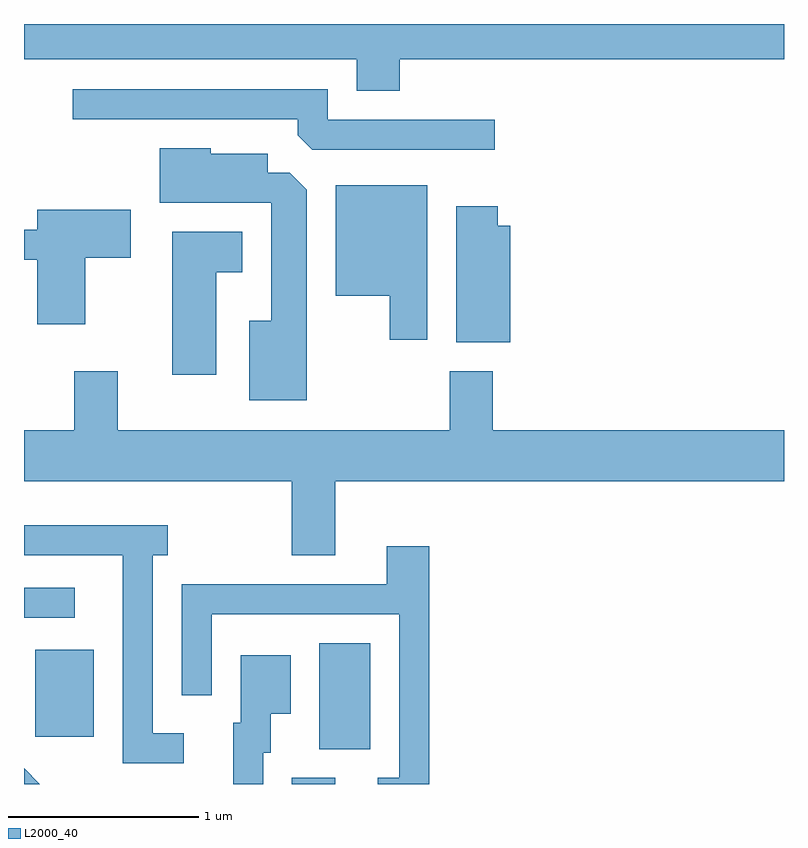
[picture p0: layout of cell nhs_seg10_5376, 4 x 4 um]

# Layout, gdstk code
import gdstk
lib = gdstk.Library(unit=1e-6, precision=1e-09)
def R(c, l, rs):  # rectangles x0, y0, x1, y1
    for r in rs: c.add(gdstk.rectangle(r[:2], r[2:], *l))
def P(c, l, *ps):  # polygons
    for p in ps: c.add(gdstk.Polygon(p, *l))
L2000_40 = (2000, 40)

nhs_seg10_5376 = lib.new_cell('nhs_seg10_5376')
R(nhs_seg10_5376, L2000_40, [(345.021,2134.522,345.249,2134.554), (345.166,2134.706,345.434,2135.264), (343.671,2134.771,343.979,2135.229), (343.611,2135.396,343.878,2135.554)])
P(nhs_seg10_5376, L2000_40, [(345.589,2138.336),(347.611,2138.336),(347.611,2138.522),(343.611,2138.522),(343.611,2138.336),(345.361,2138.336),(345.361,2138.171),(345.589,2138.171)],
  [(346.088,2138.019),(345.209,2138.019),(345.209,2138.179),(343.868,2138.179),(343.868,2138.021),(345.051,2138.021),(345.051,2137.937),(345.127,2137.861),(346.088,2137.861)],
  [(345.099,2137.649),(345.009,2137.739),(344.894,2137.739),(344.894,2137.839),(344.594,2137.839),(344.594,2137.869),(344.326,2137.869),(344.326,2137.581),(344.911,2137.581),(344.911,2136.959),(344.796,2136.959),(344.796,2136.541),(345.099,2136.541)],
  [(345.734,2137.674),(345.251,2137.674),(345.251,2137.091),(345.536,2137.091),(345.536,2136.861),(345.734,2136.861)],
  [(346.169,2137.459),(346.104,2137.459),(346.104,2137.564),(345.886,2137.564),(345.886,2136.846),(346.169,2136.846)],
  [(343.934,2137.291),(344.174,2137.291),(344.174,2137.544),(343.681,2137.544),(343.681,2137.439),(343.611,2137.439),(343.611,2137.281),(343.681,2137.281),(343.681,2136.941),(343.934,2136.941)],
  [(344.624,2137.216),(344.759,2137.216),(344.759,2137.429),(344.391,2137.429),(344.391,2136.676),(344.624,2136.676)],
  [(345.021,2135.726),(345.249,2135.726),(345.249,2136.116),(347.611,2136.116),(347.611,2136.384),(346.079,2136.384),(346.079,2136.694),(345.851,2136.694),(345.851,2136.384),(344.104,2136.384),(344.104,2136.694),(343.876,2136.694),(343.876,2136.384),(343.611,2136.384),(343.611,2136.116),(345.021,2136.116)],
  [(344.453,2134.789),(344.289,2134.789),(344.289,2135.726),(344.368,2135.726),(344.368,2135.884),(343.611,2135.884),(343.611,2135.726),(344.131,2135.726),(344.131,2134.631),(344.453,2134.631)],
  [(345.744,2135.774),(345.521,2135.774),(345.521,2135.574),(344.441,2135.574),(344.441,2134.988),(344.599,2134.988),(344.599,2135.416),(345.586,2135.416),(345.586,2134.554),(345.473,2134.554),(345.473,2134.522),(345.744,2134.522)],
  [(344.869,2134.686),(344.909,2134.686),(344.909,2134.891),(345.014,2134.891),(345.014,2135.199),(344.751,2135.199),(344.751,2134.844),(344.711,2134.844),(344.711,2134.522),(344.869,2134.522)],
  [(343.611,2134.605),(343.611,2134.522),(343.694,2134.522)])

lib.write_gds('nhs_seg10_5376.gds')
